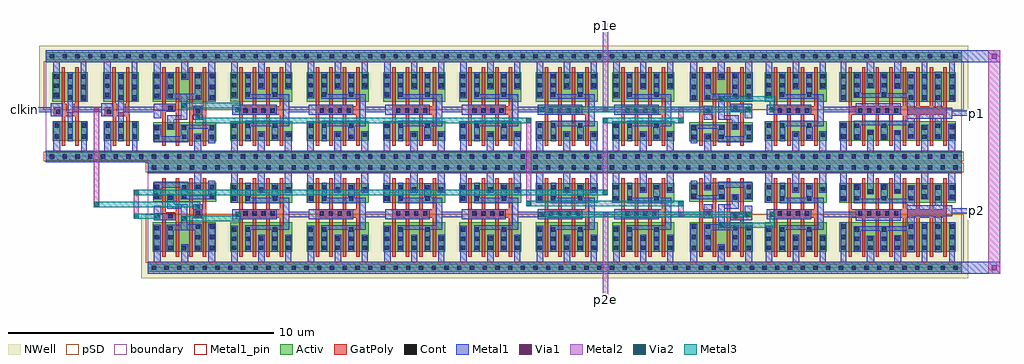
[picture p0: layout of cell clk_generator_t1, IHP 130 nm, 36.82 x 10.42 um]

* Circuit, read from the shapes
.subckt clk_generator_t1 VDD VSS clkin p1 p1e p2 p2e
XM1 sg13g2_inv_2_1/A clkin VSS VSS sg13_lv_nmos w=0.74u l=0.13u m=2
XM2 sg13g2_nand2_2_11/A sg13g2_inv_2_1/A VSS VSS sg13_lv_nmos w=0.74u l=0.13u m=2
XM3 sg13g2_inv_4_14/A sg13g2_nand2_2_12/A n1 VSS sg13_lv_nmos w=0.72u l=0.13u m=2
XM4 sg13g2_inv_4_2/A sg13g2_nand2_2_11/A n2 VSS sg13_lv_nmos w=0.72u l=0.13u m=2
XM5 VSS sg13g2_inv_2_1/A n1 VSS sg13_lv_nmos w=0.72u l=0.13u m=2
XM6 VSS sg13g2_nand2_2_11/B n2 VSS sg13_lv_nmos w=0.72u l=0.13u m=2
XM7 sg13g2_inv_4_15/A sg13g2_inv_4_14/A VSS VSS sg13_lv_nmos w=0.74u l=0.13u m=4
XM8 sg13g2_inv_4_3/A sg13g2_inv_4_2/A VSS VSS sg13_lv_nmos w=0.74u l=0.13u m=4
XM9 sg13g2_inv_4_16/A sg13g2_inv_4_15/A VSS VSS sg13_lv_nmos w=0.74u l=0.13u m=4
XM10 sg13g2_inv_4_4/A sg13g2_inv_4_3/A VSS VSS sg13_lv_nmos w=0.74u l=0.13u m=4
XM11 sg13g2_inv_4_17/A sg13g2_inv_4_16/A VSS VSS sg13_lv_nmos w=0.74u l=0.13u m=4
XM12 sg13g2_inv_4_5/A sg13g2_inv_4_4/A VSS VSS sg13_lv_nmos w=0.74u l=0.13u m=4
XM13 sg13g2_inv_4_18/A sg13g2_inv_4_17/A VSS VSS sg13_lv_nmos w=0.74u l=0.13u m=4
XM14 sg13g2_inv_4_6/A sg13g2_inv_4_5/A VSS VSS sg13_lv_nmos w=0.74u l=0.13u m=4
XM15 p2e sg13g2_inv_4_18/A VSS VSS sg13_lv_nmos w=0.74u l=0.13u m=4
XM16 p1e sg13g2_inv_4_6/A VSS VSS sg13_lv_nmos w=0.74u l=0.13u m=4
XM17 sg13g2_nand2_2_11/B p2e VSS VSS sg13_lv_nmos w=0.74u l=0.13u m=4
XM18 sg13g2_nand2_2_12/A p1e VSS VSS sg13_lv_nmos w=0.74u l=0.13u m=4
XM19 VSS sg13g2_nand2_2_11/B n3 VSS sg13_lv_nmos w=0.72u l=0.13u m=2
XM20 VSS sg13g2_nand2_2_12/A n4 VSS sg13_lv_nmos w=0.72u l=0.13u m=2
XM21 sg13g2_inv_4_20/A sg13g2_inv_4_18/A n3 VSS sg13_lv_nmos w=0.72u l=0.13u m=2
XM22 sg13g2_inv_4_8/A sg13g2_inv_4_6/A n4 VSS sg13_lv_nmos w=0.72u l=0.13u m=2
XM23 sg13g2_inv_8_13/A sg13g2_inv_4_20/A VSS VSS sg13_lv_nmos w=0.74u l=0.13u m=4
XM24 sg13g2_inv_8_10/A sg13g2_inv_4_8/A VSS VSS sg13_lv_nmos w=0.74u l=0.13u m=4
XM25 p2 sg13g2_inv_8_13/A VSS VSS sg13_lv_nmos w=0.74u l=0.13u m=8
XM26 p1 sg13g2_inv_8_10/A VSS VSS sg13_lv_nmos w=0.74u l=0.13u m=8
XM27 sg13g2_inv_2_1/A clkin VDD VDD sg13_lv_pmos w=1.12u l=0.13u m=2
XM28 sg13g2_nand2_2_11/A sg13g2_inv_2_1/A VDD VDD sg13_lv_pmos w=1.12u l=0.13u m=2
XM29 sg13g2_inv_4_14/A sg13g2_nand2_2_12/A VDD VDD sg13_lv_pmos w=1.12u l=0.13u m=2
XM30 sg13g2_inv_4_2/A sg13g2_nand2_2_11/A VDD VDD sg13_lv_pmos w=1.12u l=0.13u m=2
XM31 sg13g2_inv_4_14/A sg13g2_inv_2_1/A VDD VDD sg13_lv_pmos w=1.12u l=0.13u m=2
XM32 sg13g2_inv_4_2/A sg13g2_nand2_2_11/B VDD VDD sg13_lv_pmos w=1.12u l=0.13u m=2
XM33 sg13g2_inv_4_15/A sg13g2_inv_4_14/A VDD VDD sg13_lv_pmos w=1.12u l=0.13u m=4
XM34 sg13g2_inv_4_3/A sg13g2_inv_4_2/A VDD VDD sg13_lv_pmos w=1.12u l=0.13u m=4
XM35 sg13g2_inv_4_16/A sg13g2_inv_4_15/A VDD VDD sg13_lv_pmos w=1.12u l=0.13u m=4
XM36 sg13g2_inv_4_4/A sg13g2_inv_4_3/A VDD VDD sg13_lv_pmos w=1.12u l=0.13u m=4
XM37 sg13g2_inv_4_17/A sg13g2_inv_4_16/A VDD VDD sg13_lv_pmos w=1.12u l=0.13u m=4
XM38 sg13g2_inv_4_5/A sg13g2_inv_4_4/A VDD VDD sg13_lv_pmos w=1.12u l=0.13u m=4
XM39 sg13g2_inv_4_18/A sg13g2_inv_4_17/A VDD VDD sg13_lv_pmos w=1.12u l=0.13u m=4
XM40 sg13g2_inv_4_6/A sg13g2_inv_4_5/A VDD VDD sg13_lv_pmos w=1.12u l=0.13u m=4
XM41 p2e sg13g2_inv_4_18/A VDD VDD sg13_lv_pmos w=1.12u l=0.13u m=4
XM42 p1e sg13g2_inv_4_6/A VDD VDD sg13_lv_pmos w=1.12u l=0.13u m=4
XM43 sg13g2_nand2_2_11/B p2e VDD VDD sg13_lv_pmos w=1.12u l=0.13u m=4
XM44 sg13g2_nand2_2_12/A p1e VDD VDD sg13_lv_pmos w=1.12u l=0.13u m=4
XM45 sg13g2_inv_4_20/A sg13g2_nand2_2_11/B VDD VDD sg13_lv_pmos w=1.12u l=0.13u m=2
XM46 sg13g2_inv_4_8/A sg13g2_nand2_2_12/A VDD VDD sg13_lv_pmos w=1.12u l=0.13u m=2
XM47 sg13g2_inv_4_20/A sg13g2_inv_4_18/A VDD VDD sg13_lv_pmos w=1.12u l=0.13u m=2
XM48 sg13g2_inv_4_8/A sg13g2_inv_4_6/A VDD VDD sg13_lv_pmos w=1.12u l=0.13u m=2
XM49 sg13g2_inv_8_13/A sg13g2_inv_4_20/A VDD VDD sg13_lv_pmos w=1.12u l=0.13u m=4
XM50 sg13g2_inv_8_10/A sg13g2_inv_4_8/A VDD VDD sg13_lv_pmos w=1.12u l=0.13u m=4
XM51 p2 sg13g2_inv_8_13/A VDD VDD sg13_lv_pmos w=1.12u l=0.13u m=8
XM52 p1 sg13g2_inv_8_10/A VDD VDD sg13_lv_pmos w=1.12u l=0.13u m=8
.ends

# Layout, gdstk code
from math import pi, radians
import gdstk
lib = gdstk.Library(unit=1e-6, precision=1e-09)
def R(c, l, rs):  # rectangles x0, y0, x1, y1
    for r in rs: c.add(gdstk.rectangle(r[:2], r[2:], *l))
def A(c, l, x, y, w, h, nx, ny, dx, dy):  # array of equal rectangles
    R(c, l, [(x+i*dx, y+j*dy, x+i*dx+w, y+j*dy+h) for i in range(nx) for j in range(ny)])
def P(c, l, *ps):  # polygons
    for p in ps: c.add(gdstk.Polygon(p, *l))
Activ = (1, 0)
GatPoly = (5, 0)
Cont = (6, 0)
Metal1 = (8, 0)
Metal1_pin = (8, 2)
Metal2 = (10, 0)
pSD = (14, 0)
Via1 = (19, 0)
Via2 = (29, 0)
Metal3 = (30, 0)
NWell = (31, 0)
boundary = (189, 4)

sg13g2_inv_2 = lib.new_cell('sg13g2_inv_2')
R(sg13g2_inv_2, Activ, [(0,-0.15,1.92,0.15), (0.265,0.59,1.59,1.33), (0.255,2.06,1.58,3.18), (0,3.63,1.92,3.93)])
P(sg13g2_inv_2, GatPoly, [(0.605,0.41),(0.605,1.52),(0.305,1.52),(0.305,1.85),(0.595,1.85),(0.595,3.36),(0.725,3.36),(0.725,1.985),(0.785,1.985),(0.785,1.67),(1.055,1.67),(1.055,1.985),(1.11,1.985),(1.11,3.36),(1.24,3.36),(1.24,1.585),(1.245,1.585),(1.245,0.41),(1.115,0.41),(1.115,1.52),(0.735,1.52),(0.735,0.41)])
A(sg13g2_inv_2, Cont, 0.84, 2.145, 0.16, 0.16, 1, 3, 0, 0.395)
A(sg13g2_inv_2, Cont, 1.35, 2.145, 0.16, 0.16, 1, 3, 0, 0.395)
R(sg13g2_inv_2, Cont, [(0.16,-0.08,0.32,0.08), (0.16,-0.08,0.32,0.08), (0.64,-0.08,0.8,0.08), (0.64,-0.08,0.8,0.08), (1.12,-0.08,1.28,0.08), (1.12,-0.08,1.28,0.08), (1.6,-0.08,1.76,0.08), (1.6,-0.08,1.76,0.08), (0.335,0.675,0.495,0.835), (0.845,0.675,1.005,0.835), (1.36,0.675,1.52,0.835), (0.335,1.09,0.495,1.25), (0.845,1.09,1.005,1.25), (1.36,1.09,1.52,1.25), (0.39,1.605,0.55,1.765), (0.325,2.235,0.485,2.395), (0.325,2.59,0.485,2.75), (0.325,2.935,0.485,3.095), (0.16,3.7,0.32,3.86), (0.16,3.7,0.32,3.86), (0.64,3.7,0.8,3.86), (0.64,3.7,0.8,3.86), (1.12,3.7,1.28,3.86), (1.12,3.7,1.28,3.86), (1.6,3.7,1.76,3.86), (1.6,3.7,1.76,3.86)])
R(sg13g2_inv_2, Metal1, [(0.825,0.57,1.02,3.18), (0.18,1.52,0.635,2)])
P(sg13g2_inv_2, Metal1, [(1.32,2.095),(1.32,3.56),(0.535,3.56),(0.535,2.185),(0.275,2.185),(0.275,3.56),(0,3.56),(0,4),(1.92,4),(1.92,3.56),(1.535,3.56),(1.535,2.095)],
  [(0,-0.22),(0,0.22),(0.285,0.22),(0.285,1.3),(0.545,1.3),(0.545,0.22),(1.34,0.22),(1.34,1.305),(1.54,1.305),(1.54,0.22),(1.92,0.22),(1.92,-0.22)])
R(sg13g2_inv_2, Metal1_pin, [(0,-0.22,1.92,0.22), (0.825,0.57,1.02,3.18), (0.18,1.52,0.635,2), (0,3.56,1.92,4)])
R(sg13g2_inv_2, pSD, [(-0.07,-0.18,1.99,0.18), (-0.07,1.76,1.99,3.6)])
R(sg13g2_inv_2, NWell, [(-0.24,1.75,2.16,4.17)])
R(sg13g2_inv_2, boundary, [(0,0,1.92,3.78)])
sg13g2_inv_2.add(gdstk.Label('VSS', (0.89,0), layer=8, texttype=25))
sg13g2_inv_2.add(gdstk.Label('VDD', (0.935,3.785), layer=8, texttype=25))
sg13g2_inv_2.add(gdstk.Label('Y', (0.925,1.855), layer=8, texttype=25))
sg13g2_inv_2.add(gdstk.Label('A', (0.415,1.75), layer=8, texttype=25))

sg13g2_inv_4 = lib.new_cell('sg13g2_inv_4')
R(sg13g2_inv_4, Activ, [(0,-0.15,2.88,0.15), (0.245,0.59,2.585,1.33), (0.245,2.06,2.585,3.18), (0,3.63,2.88,3.93)])
P(sg13g2_inv_4, GatPoly, [(0.585,0.41),(0.585,3.36),(0.715,3.36),(0.715,1.9),(1.095,1.9),(1.095,3.36),(1.225,3.36),(1.225,1.9),(1.605,1.9),(1.605,3.36),(1.735,3.36),(1.735,1.9),(2.115,1.9),(2.115,3.36),(2.245,3.36),(2.245,0.41),(2.115,0.41),(2.115,1.57),(1.735,1.57),(1.735,0.41),(1.605,0.41),(1.605,1.57),(1.225,1.57),(1.225,0.41),(1.095,0.41),(1.095,1.57),(0.715,1.57),(0.715,0.41)])
A(sg13g2_inv_4, Cont, 0.735, 1.655, 0.16, 0.16, 4, 1, 0.34, 0)
A(sg13g2_inv_4, Cont, 0.315, 2.945, 0.16, 0.16, 5, 1, 0.51, 0)
R(sg13g2_inv_4, Cont, [(0.16,-0.08,0.32,0.08), (0.16,-0.08,0.32,0.08), (0.64,-0.08,0.8,0.08), (0.64,-0.08,0.8,0.08), (1.12,-0.08,1.28,0.08), (1.12,-0.08,1.28,0.08), (1.6,-0.08,1.76,0.08), (1.6,-0.08,1.76,0.08), (2.08,-0.08,2.24,0.08), (2.08,-0.08,2.24,0.08), (2.56,-0.08,2.72,0.08), (2.56,-0.08,2.72,0.08), (0.315,0.665,0.475,0.825), (0.825,0.665,0.985,0.825), (1.845,0.665,2.005,0.825), (1.335,0.735,1.495,0.895), (2.355,0.735,2.515,0.895), (0.315,1.09,0.475,1.25), (0.825,1.09,0.985,1.25), (1.845,1.09,2.005,1.25), (0.315,2.255,0.475,2.415), (0.825,2.255,0.985,2.415), (1.845,2.255,2.005,2.415), (1.335,2.595,1.495,2.755), (2.355,2.595,2.515,2.755), (0.315,2.605,0.475,2.765), (0.825,2.605,0.985,2.765), (1.845,2.605,2.005,2.765), (0.16,3.7,0.32,3.86), (0.16,3.7,0.32,3.86), (0.64,3.7,0.8,3.86), (0.64,3.7,0.8,3.86), (1.12,3.7,1.28,3.86), (1.12,3.7,1.28,3.86), (1.6,3.7,1.76,3.86), (1.6,3.7,1.76,3.86), (2.08,3.7,2.24,3.86), (2.08,3.7,2.24,3.86), (2.56,3.7,2.72,3.86), (2.56,3.7,2.72,3.86)])
R(sg13g2_inv_4, Metal1, [(0.325,1.57,2,1.95)])
P(sg13g2_inv_4, Metal1, [(0.815,0.57),(0.815,1.34),(2.245,1.34),(2.245,2.17),(0.8,2.17),(0.8,3.18),(1.015,3.18),(1.015,2.34),(1.815,2.34),(1.815,3.175),(2.03,3.175),(2.03,2.34),(2.475,2.34),(2.475,1.145),(2.06,1.145),(2.06,0.595),(1.805,0.595),(1.805,1.145),(1.01,1.145),(1.01,0.57)],
  [(0.285,2.19),(0.285,3.56),(0,3.56),(0,4),(2.88,4),(2.88,3.56),(2.55,3.56),(2.55,2.54),(2.32,2.54),(2.32,3.56),(1.54,3.56),(1.54,2.53),(1.3,2.53),(1.3,3.56),(0.53,3.56),(0.53,2.19)],
  [(0,-0.21),(0,0.21),(0.27,0.21),(0.27,1.325),(0.52,1.325),(0.52,0.21),(1.28,0.21),(1.28,0.945),(1.55,0.945),(1.55,0.22),(2.305,0.22),(2.305,0.95),(2.565,0.95),(2.565,0.21),(2.88,0.21),(2.88,-0.21)])
R(sg13g2_inv_4, Metal1_pin, [(0,-0.21,2.88,0.21), (2.245,1.145,2.475,2.34), (0.325,1.57,2,1.95), (0,3.56,2.88,4)])
R(sg13g2_inv_4, pSD, [(-0.07,-0.18,2.95,0.18), (-0.07,1.76,2.95,3.6)])
R(sg13g2_inv_4, NWell, [(-0.24,1.75,3.12,4.17)])
R(sg13g2_inv_4, boundary, [(0,0,2.88,3.78)])
sg13g2_inv_4.add(gdstk.Label('A', (1.12,1.76), layer=8, texttype=25))
sg13g2_inv_4.add(gdstk.Label('VDD', (1.925,3.8), layer=8, texttype=25))
sg13g2_inv_4.add(gdstk.Label('Y', (2.36,1.755), layer=8, texttype=25))
sg13g2_inv_4.add(gdstk.Label('VSS', (1.405,0.005), layer=8, texttype=25))

sg13g2_nand2_2 = lib.new_cell('sg13g2_nand2_2')
R(sg13g2_nand2_2, Activ, [(0,-0.15,2.88,0.15), (0.285,0.575,2.67,1.295), (0.3,2.06,2.68,3.18), (0,3.63,2.88,3.93)])
P(sg13g2_nand2_2, GatPoly, [(0.66,0.395),(0.66,3.36),(0.79,3.36),(0.79,1.875),(1.17,1.875),(1.17,3.36),(1.3,3.36),(1.3,0.395),(1.17,0.395),(1.17,1.565),(0.79,1.565),(0.79,0.395)],
  [(1.69,0.395),(1.69,3.36),(1.82,3.36),(1.82,1.99),(2.2,1.99),(2.2,3.36),(2.33,3.36),(2.33,0.395),(2.2,0.395),(2.2,1.685),(1.82,1.685),(1.82,0.395)])
A(sg13g2_nand2_2, Cont, 1.6, -0.08, 0.16, 0.16, 3, 2, 0.48, 3.78)
A(sg13g2_nand2_2, Cont, 0.9, 2.15, 0.16, 0.16, 1, 3, 0, 0.4)
R(sg13g2_nand2_2, Cont, [(0.16,-0.08,0.32,0.08), (0.16,-0.08,0.32,0.08), (0.64,-0.08,0.8,0.08), (0.64,-0.08,0.8,0.08), (1.12,-0.08,1.28,0.08), (1.12,-0.08,1.28,0.08), (1.6,-0.08,1.76,0.08), (0.9,0.645,1.06,0.805), (0.38,0.65,0.54,0.81), (2.44,0.65,2.6,0.81), (1.41,0.66,1.57,0.82), (0.375,0.99,0.535,1.15), (2.44,0.99,2.6,1.15), (1.41,1.005,1.57,1.165), (1.93,1.05,2.09,1.21), (0.9,1.64,1.06,1.8), (1.93,1.76,2.09,1.92), (0.37,2.14,0.53,2.3), (1.93,2.21,2.09,2.37), (2.44,2.21,2.6,2.37), (0.37,2.54,0.53,2.7), (1.93,2.55,2.09,2.71), (2.44,2.55,2.6,2.71), (0.37,2.95,0.53,3.11), (1.41,2.95,1.57,3.11), (1.93,2.95,2.09,3.11), (2.44,2.95,2.6,3.11), (0.16,3.7,0.32,3.86), (0.16,3.7,0.32,3.86), (0.64,3.7,0.8,3.86), (0.64,3.7,0.8,3.86), (1.12,3.7,1.28,3.86), (1.12,3.7,1.28,3.86), (1.6,3.7,1.76,3.86)])
R(sg13g2_nand2_2, Metal1, [(0.82,1.39,1.15,1.92)])
P(sg13g2_nand2_2, Metal1, [(0.32,2.125),(0.32,3.56),(0,3.56),(0,4),(2.88,4),(2.88,3.56),(2.65,3.56),(2.65,2.16),(2.39,2.16),(2.39,3.56),(1.61,3.56),(1.61,2.9),(1.35,2.9),(1.35,3.56),(0.58,3.56),(0.58,2.125)],
  [(2.37,1.44),(2.37,1.73),(1.815,1.73),(1.815,1.98),(2.645,1.98),(2.645,1.44)],
  [(1.88,1),(1.88,1.39),(1.38,1.39),(1.38,2.14),(0.84,2.14),(0.84,3.18),(1.1,3.18),(1.1,2.36),(1.89,2.36),(1.89,3.18),(2.15,3.18),(2.15,2.16),(1.62,2.16),(1.62,1.55),(2.14,1.55),(2.14,1)],
  [(0.325,0.5),(0.325,1.2),(1.62,1.2),(1.62,0.76),(2.37,0.76),(2.37,1.2),(2.65,1.2),(2.65,0.53),(1.35,0.53),(1.35,1.035),(0.585,1.035),(0.585,0.5)],
  [(0,-0.22),(0,0.22),(0.85,0.22),(0.85,0.855),(1.11,0.855),(1.11,0.22),(2.88,0.22),(2.88,-0.22)])
R(sg13g2_nand2_2, Metal1_pin, [(0,-0.22,2.88,0.22), (0.82,1.39,1.15,1.92), (1.38,1.39,1.62,2.36), (1.815,1.73,2.645,1.98), (0,3.56,2.88,4)])
R(sg13g2_nand2_2, pSD, [(-0.07,-0.18,2.95,0.18), (-0.07,1.76,2.95,3.6)])
R(sg13g2_nand2_2, NWell, [(-0.24,1.75,3.12,4.17)])
R(sg13g2_nand2_2, boundary, [(0,0,2.88,3.78)])
sg13g2_nand2_2.add(gdstk.Label('Y', (1.48,2.105), layer=8, texttype=25))
sg13g2_nand2_2.add(gdstk.Label('VDD', (0.97,3.78), layer=8, texttype=25))
sg13g2_nand2_2.add(gdstk.Label('A', (2.01,1.84), layer=8, texttype=25))
sg13g2_nand2_2.add(gdstk.Label('VSS', (0.51,0), layer=8, texttype=25))
sg13g2_nand2_2.add(gdstk.Label('B', (0.98,1.655), layer=8, texttype=25))

sg13g2_inv_8 = lib.new_cell('sg13g2_inv_8')
R(sg13g2_inv_8, Activ, [(0,-0.15,4.8,0.15), (0.185,0.59,4.575,1.33), (0.185,2.06,4.575,3.18), (0,3.63,4.8,3.93)])
P(sg13g2_inv_8, GatPoly, [(0.525,0.41),(0.525,3.36),(0.655,3.36),(0.655,1.9),(1.035,1.9),(1.035,3.36),(1.165,3.36),(1.165,1.9),(1.545,1.9),(1.545,3.36),(1.675,3.36),(1.675,1.9),(2.055,1.9),(2.055,3.36),(2.185,3.36),(2.185,1.9),(2.565,1.9),(2.565,3.36),(2.695,3.36),(2.695,1.9),(3.075,1.9),(3.075,3.36),(3.205,3.36),(3.205,1.9),(3.585,1.9),(3.585,3.36),(3.715,3.36),(3.715,1.9),(4.105,1.9),(4.105,3.36),(4.235,3.36),(4.235,0.41),(4.105,0.41),(4.105,1.57),(3.715,1.57),(3.715,0.41),(3.585,0.41),(3.585,1.57),(3.205,1.57),(3.205,0.41),(3.075,0.41),(3.075,1.57),(2.695,1.57),(2.695,0.41),(2.565,0.41),(2.565,1.57),(2.185,1.57),(2.185,0.41),(2.055,0.41),(2.055,1.57),(1.675,1.57),(1.675,0.41),(1.545,0.41),(1.545,1.57),(1.165,1.57),(1.165,0.41),(1.035,0.41),(1.035,1.57),(0.655,1.57),(0.655,0.41)])
A(sg13g2_inv_8, Cont, 0.765, 1.08, 0.16, 0.16, 4, 1, 1.02, 0)
A(sg13g2_inv_8, Cont, 0.89, 1.655, 0.16, 0.16, 5, 1, 0.34, 0)
A(sg13g2_inv_8, Cont, 2.805, 2.14, 0.16, 0.16, 3, 2, 0.51, 0.4)
A(sg13g2_inv_8, Cont, 0.255, 2.945, 0.16, 0.16, 8, 1, 0.51, 0)
R(sg13g2_inv_8, Cont, [(0.16,-0.08,0.32,0.08), (0.16,-0.08,0.32,0.08), (0.64,-0.08,0.8,0.08), (0.64,-0.08,0.8,0.08), (1.12,-0.08,1.28,0.08), (1.12,-0.08,1.28,0.08), (1.6,-0.08,1.76,0.08), (1.6,-0.08,1.76,0.08), (2.08,-0.08,2.24,0.08), (2.08,-0.08,2.24,0.08), (2.56,-0.08,2.72,0.08), (2.56,-0.08,2.72,0.08), (3.04,-0.08,3.2,0.08), (3.04,-0.08,3.2,0.08), (3.52,-0.08,3.68,0.08), (3.52,-0.08,3.68,0.08), (4,-0.08,4.16,0.08), (4,-0.08,4.16,0.08), (4.48,-0.08,4.64,0.08), (4.48,-0.08,4.64,0.08), (3.315,0.665,3.475,0.825), (0.255,0.67,0.415,0.83), (0.765,0.67,0.925,0.83), (1.785,0.67,1.945,0.83), (3.825,0.67,3.985,0.83), (4.345,0.67,4.505,0.83), (2.805,0.675,2.965,0.835), (1.275,0.815,1.435,0.975), (2.295,0.815,2.455,0.975), (3.315,1.015,3.475,1.175), (4.345,1.025,4.505,1.185), (0.255,1.08,0.415,1.24), (0.255,2.14,0.415,2.3), (4.345,2.14,4.505,2.3), (0.765,2.255,0.925,2.415), (1.785,2.255,1.945,2.415), (0.255,2.54,0.415,2.7), (4.345,2.54,4.505,2.7), (1.275,2.595,1.435,2.755), (2.295,2.595,2.455,2.755), (0.765,2.605,0.925,2.765), (1.785,2.605,1.945,2.765), (4.345,2.945,4.505,3.105), (0.16,3.7,0.32,3.86), (0.16,3.7,0.32,3.86), (0.64,3.7,0.8,3.86), (0.64,3.7,0.8,3.86), (1.12,3.7,1.28,3.86), (1.12,3.7,1.28,3.86), (1.6,3.7,1.76,3.86), (1.6,3.7,1.76,3.86), (2.08,3.7,2.24,3.86), (2.08,3.7,2.24,3.86), (2.56,3.7,2.72,3.86), (2.56,3.7,2.72,3.86), (3.04,3.7,3.2,3.86), (3.04,3.7,3.2,3.86), (3.52,3.7,3.68,3.86), (3.52,3.7,3.68,3.86), (4,3.7,4.16,3.86), (4,3.7,4.16,3.86), (4.48,3.7,4.64,3.86), (4.48,3.7,4.64,3.86)])
R(sg13g2_inv_8, Metal1, [(0.805,1.57,2.495,2)])
P(sg13g2_inv_8, Metal1, [(0.715,0.62),(0.715,1.345),(2.74,1.345),(2.74,2.22),(0.715,2.22),(0.715,3.16),(0.98,3.16),(0.98,2.385),(1.73,2.385),(1.73,3.155),(1.995,3.155),(1.995,2.38),(2.74,2.38),(2.74,3.2),(3.015,3.2),(3.015,1.84),(3.775,1.84),(3.775,3.19),(4.035,3.19),(4.035,1.84),(4.44,1.84),(4.44,1.42),(4.035,1.42),(4.035,0.64),(3.775,0.64),(3.775,1.42),(3.015,1.42),(3.015,0.665),(2.755,0.665),(2.755,1.18),(2,1.18),(2,0.635),(1.735,0.635),(1.735,1.18),(0.98,1.18),(0.98,0.62)],
  [(0,-0.22),(0,0.22),(0.205,0.22),(0.205,1.27),(0.465,1.27),(0.465,0.22),(1.225,0.22),(1.225,1),(1.485,1),(1.485,0.22),(2.245,0.22),(2.245,0.99),(2.505,0.99),(2.505,0.22),(3.265,0.22),(3.265,1.195),(3.525,1.195),(3.525,0.22),(4.295,0.22),(4.295,1.225),(4.555,1.225),(4.555,0.22),(4.8,0.22),(4.8,-0.22)],
  [(3.29,2.055),(3.29,3.56),(2.515,3.56),(2.515,2.56),(2.245,2.56),(2.245,3.56),(1.495,3.56),(1.495,2.565),(1.215,2.565),(1.215,3.56),(0.435,3.56),(0.435,2.06),(0.24,2.06),(0.24,3.56),(0,3.56),(0,4),(4.8,4),(4.8,3.56),(4.53,3.56),(4.53,2.065),(4.32,2.065),(4.32,3.56),(3.5,3.56),(3.5,2.055)])
R(sg13g2_inv_8, Metal1_pin, [(0,-0.22,4.8,0.22), (2.74,1.42,4.44,1.84), (0.805,1.57,2.495,2), (0,3.56,4.8,4)])
R(sg13g2_inv_8, pSD, [(-0.07,-0.18,4.87,0.18), (-0.07,1.76,4.87,3.6)])
R(sg13g2_inv_8, NWell, [(-0.24,1.75,5.04,4.17)])
R(sg13g2_inv_8, boundary, [(0,0,4.8,3.78)])
sg13g2_inv_8.add(gdstk.Label('Y', (3.65,1.64), layer=8, texttype=25))
sg13g2_inv_8.add(gdstk.Label('A', (1.645,1.785), layer=8, texttype=25))
sg13g2_inv_8.add(gdstk.Label('VSS', (2.31,-0.02), layer=8, texttype=25))
sg13g2_inv_8.add(gdstk.Label('VDD', (2.71,3.78), layer=8, texttype=25))

clk_generator_t1 = lib.new_cell('clk_generator_t1')
R(clk_generator_t1, Activ, [(3.84,-0.27,34.56,-0.15)])
R(clk_generator_t1, Metal2, [(25.38,-2.695,25.62,-2.495), (5.1,-2.445,5.34,-2.245), (4.115,-2.36,4.315,-2.16), (18.6,-2.285,18.8,-2.085), (26.38,-2.285,26.645,-2.085), (7.15,-2.28,7.35,-2.08), (27.31,-2.28,27.51,-2.08), (5.635,-2.035,5.835,-1.835), (5.635,1.415,5.835,1.615), (7.15,1.66,7.35,1.86), (27.31,1.66,27.51,1.86), (18.6,1.665,18.8,1.865), (26.38,1.665,26.645,1.865), (5.1,1.825,5.34,2.025), (25.38,2.075,25.62,2.275)])
R(clk_generator_t1, Via1, [(35.685,-4.295,35.875,-4.105), (25.405,-2.69,25.595,-2.5), (5.125,-2.44,5.315,-2.25), (4.12,-2.355,4.31,-2.165), (18.605,-2.28,18.795,-2.09), (21.025,-2.28,21.215,-2.09), (23.875,-2.28,24.065,-2.09), (26.415,-2.28,26.605,-2.09), (7.155,-2.275,7.345,-2.085), (27.315,-2.275,27.505,-2.085), (5.64,-2.03,5.83,-1.84), (5.64,1.42,5.83,1.61), (7.155,1.665,7.345,1.855), (27.315,1.665,27.505,1.855), (1.825,1.67,2.015,1.86), (18.605,1.67,18.795,1.86), (21.025,1.67,21.215,1.86), (23.875,1.67,24.065,1.86), (26.415,1.67,26.605,1.86), (5.125,1.83,5.315,2.02), (25.405,2.08,25.595,2.27), (35.685,3.685,35.875,3.875)])
R(clk_generator_t1, Via2, [(25.405,-2.69,25.595,-2.5), (5.125,-2.44,5.315,-2.25), (3.32,-2.355,3.51,-2.165), (4.12,-2.355,4.31,-2.165), (18.605,-2.28,18.795,-2.09), (26.415,-2.28,26.605,-2.09), (7.155,-2.275,7.345,-2.085), (27.315,-2.275,27.505,-2.085), (5.64,-2.03,5.83,-1.84), (1.825,-1.91,2.015,-1.72), (18.13,-1.87,18.32,-1.68), (23.875,-1.87,24.065,-1.68), (3.32,-1.46,3.51,-1.27), (21.01,-1.46,21.2,-1.27), (18.13,1.255,18.32,1.445), (21.01,1.26,21.2,1.45), (23.875,1.26,24.065,1.45), (5.64,1.42,5.83,1.61), (7.155,1.665,7.345,1.855), (27.315,1.665,27.505,1.855), (18.605,1.67,18.795,1.86), (26.415,1.67,26.605,1.86), (5.125,1.83,5.315,2.02), (25.405,2.08,25.595,2.27)])
clk_generator_t1.add(gdstk.FlexPath([(36,3.78),(34.56,3.78)], 0.44, ends="flush", simple_path=True, layer=8, datatype=0))  # Metal1
clk_generator_t1.add(gdstk.FlexPath([(36,-4.2),(34.56,-4.2)], 0.44, ends="flush", simple_path=True, layer=8, datatype=0))  # Metal1
clk_generator_t1.add(gdstk.FlexPath([(1.02,1.765),(2.1,1.765)], 0.2, ends="flush", simple_path=True, layer=8, datatype=0))  # Metal1
clk_generator_t1.add(gdstk.FlexPath([(35.2,-2.05),(34.2,-2.05)], 0.2, ends="flush", simple_path=True, layer=8, datatype=0))  # Metal1
clk_generator_t1.add(gdstk.FlexPath([(35.2,1.63),(34.2,1.63)], 0.2, ends="flush", simple_path=True, layer=8, datatype=0))  # Metal1
clk_generator_t1.add(gdstk.FlexPath([(0.18,1.76),(-0.82,1.76)], 0.2, ends="flush", simple_path=True, layer=8, datatype=0))  # Metal1
clk_generator_t1.add(gdstk.FlexPath([(2.94,1.765),(4.075,1.765)], 0.2, ends="flush", simple_path=True, layer=8, datatype=0))  # Metal1
clk_generator_t1.add(gdstk.FlexPath([(29.355,-2.185),(30.565,-2.185)], 0.2, ends="flush", simple_path=True, layer=8, datatype=0))  # Metal1
clk_generator_t1.add(gdstk.FlexPath([(29.355,1.765),(30.565,1.765)], 0.2, ends="flush", simple_path=True, layer=8, datatype=0))  # Metal1
clk_generator_t1.add(gdstk.FlexPath([(23.595,-2.185),(24.82,-2.185)], 0.2, ends="flush", simple_path=True, layer=8, datatype=0))  # Metal1
clk_generator_t1.add(gdstk.FlexPath([(23.595,1.765),(24.82,1.765)], 0.2, ends="flush", simple_path=True, layer=8, datatype=0))  # Metal1
clk_generator_t1.add(gdstk.FlexPath([(9.195,-2.185),(9.925,-2.185)], 0.2, ends="flush", simple_path=True, layer=8, datatype=0))  # Metal1
clk_generator_t1.add(gdstk.FlexPath([(12.075,-2.185),(12.805,-2.185)], 0.2, ends="flush", simple_path=True, layer=8, datatype=0))  # Metal1
clk_generator_t1.add(gdstk.FlexPath([(14.955,-2.185),(15.685,-2.185)], 0.2, ends="flush", simple_path=True, layer=8, datatype=0))  # Metal1
clk_generator_t1.add(gdstk.FlexPath([(17.835,-2.185),(18.565,-2.185)], 0.2, ends="flush", simple_path=True, layer=8, datatype=0))  # Metal1
clk_generator_t1.add(gdstk.FlexPath([(20.715,-2.185),(21.445,-2.185)], 0.2, ends="flush", simple_path=True, layer=8, datatype=0))  # Metal1
clk_generator_t1.add(gdstk.FlexPath([(9.195,1.765),(9.925,1.765)], 0.2, ends="flush", simple_path=True, layer=8, datatype=0))  # Metal1
clk_generator_t1.add(gdstk.FlexPath([(12.075,1.765),(12.805,1.765)], 0.2, ends="flush", simple_path=True, layer=8, datatype=0))  # Metal1
clk_generator_t1.add(gdstk.FlexPath([(14.955,1.765),(15.685,1.765)], 0.2, ends="flush", simple_path=True, layer=8, datatype=0))  # Metal1
clk_generator_t1.add(gdstk.FlexPath([(17.835,1.765),(18.565,1.765)], 0.2, ends="flush", simple_path=True, layer=8, datatype=0))  # Metal1
clk_generator_t1.add(gdstk.FlexPath([(20.715,1.765),(21.445,1.765)], 0.2, ends="flush", simple_path=True, layer=8, datatype=0))  # Metal1
clk_generator_t1.add(gdstk.FlexPath([(18.6,-2.185),(26.61,-2.185)], 0.2, ends="flush", simple_path=True, layer=30, datatype=0))  # Metal3
clk_generator_t1.add(gdstk.FlexPath([(18.6,1.765),(26.61,1.765)], 0.2, ends="flush", simple_path=True, layer=30, datatype=0))  # Metal3
clk_generator_t1.add(gdstk.FlexPath([(4.315,-2.26),(3.315,-2.26)], 0.2, ends="flush", simple_path=True, layer=30, datatype=0))  # Metal3
clk_generator_t1.add(gdstk.FlexPath([(5.1,-2.345),(7.25,-2.345),(7.25,-2.08)], 0.2, ends="flush", simple_path=True, layer=30, datatype=0))  # Metal3
clk_generator_t1.add(gdstk.FlexPath([(5.735,1.615),(5.735,1.35),(18.325,1.35)], 0.2, ends="flush", simple_path=True, layer=30, datatype=0))  # Metal3
clk_generator_t1.add(gdstk.FlexPath([(21.005,1.355),(24.07,1.355)], 0.2, ends="flush", simple_path=True, layer=30, datatype=0))  # Metal3
clk_generator_t1.add(gdstk.FlexPath([(18.125,-1.775),(24.07,-1.775)], 0.2, ends="flush", simple_path=True, layer=30, datatype=0))  # Metal3
clk_generator_t1.add(gdstk.FlexPath([(5.735,-2.035),(5.735,-1.815),(1.82,-1.815)], 0.2, ends="flush", simple_path=True, layer=30, datatype=0))  # Metal3
clk_generator_t1.add(gdstk.FlexPath([(5.1,1.925),(7.25,1.925),(7.25,1.66)], 0.2, ends="flush", simple_path=True, layer=30, datatype=0))  # Metal3
clk_generator_t1.add(gdstk.FlexPath([(25.38,2.175),(27.41,2.175),(27.41,1.66)], 0.2, ends="flush", simple_path=True, layer=30, datatype=0))  # Metal3
clk_generator_t1.add(gdstk.FlexPath([(3.315,-1.365),(21.205,-1.365)], 0.2, ends="flush", simple_path=True, layer=30, datatype=0))  # Metal3
clk_generator_t1.add(gdstk.FlexPath([(25.38,-2.595),(27.41,-2.595),(27.41,-2.08)], 0.2, ends="flush", simple_path=True, layer=30, datatype=0))  # Metal3
clk_generator_t1.add(gdstk.FlexPath([(35.78,-4.42),(35.78,4)], 0.44, ends="flush", simple_path=True, layer=10, datatype=0))  # Metal2
clk_generator_t1.add(gdstk.FlexPath([(18.225,1.45),(18.225,-1.875)], 0.2, ends="flush", simple_path=True, layer=10, datatype=0))  # Metal2
clk_generator_t1.add(gdstk.FlexPath([(3.415,-2.36),(3.415,-1.265)], 0.2, ends="flush", simple_path=True, layer=10, datatype=0))  # Metal2
clk_generator_t1.add(gdstk.FlexPath([(21.105,1.455),(21.105,-1.465)], 0.2, ends="flush", simple_path=True, layer=10, datatype=0))  # Metal2
clk_generator_t1.add(gdstk.FlexPath([(1.92,-1.915),(1.92,1.865)], 0.2, ends="flush", simple_path=True, layer=10, datatype=0))  # Metal2
clk_generator_t1.add(gdstk.FlexPath([(23.97,-1.675),(23.97,-2.285)], 0.2, ends="flush", simple_path=True, layer=10, datatype=0))  # Metal2
clk_generator_t1.add(gdstk.FlexPath([(23.97,1.865),(23.97,1.255)], 0.2, ends="flush", simple_path=True, layer=10, datatype=0))  # Metal2
clk_generator_t1.add(gdstk.FlexPath([(21.12,1.665),(21.12,5)], 0.2, ends="flush", simple_path=True, layer=10, datatype=0))  # Metal2
clk_generator_t1.add(gdstk.FlexPath([(21.12,-2.085),(21.12,-5.42)], 0.2, ends="flush", simple_path=True, layer=10, datatype=0))  # Metal2
clk_generator_t1.add(gdstk.Reference(sg13g2_inv_2, (0,0)))
clk_generator_t1.add(gdstk.Reference(sg13g2_inv_2, (1.92,0)))
clk_generator_t1.add(gdstk.Reference(sg13g2_inv_4, (6.72,0)))
clk_generator_t1.add(gdstk.Reference(sg13g2_inv_4, (9.6,0)))
clk_generator_t1.add(gdstk.Reference(sg13g2_inv_4, (12.48,0)))
clk_generator_t1.add(gdstk.Reference(sg13g2_inv_4, (15.36,0)))
clk_generator_t1.add(gdstk.Reference(sg13g2_inv_4, (18.24,0)))
clk_generator_t1.add(gdstk.Reference(sg13g2_inv_4, (21.12,0)))
clk_generator_t1.add(gdstk.Reference(sg13g2_inv_4, (26.88,0)))
clk_generator_t1.add(gdstk.Reference(sg13g2_nand2_2, (24,0)))
clk_generator_t1.add(gdstk.Reference(sg13g2_inv_8, (29.76,0)))
clk_generator_t1.add(gdstk.Reference(sg13g2_nand2_2, (6.72,0), rotation=pi, x_reflection=True))
clk_generator_t1.add(gdstk.Reference(sg13g2_nand2_2, (6.72,-0.42), rotation=pi))
clk_generator_t1.add(gdstk.Reference(sg13g2_inv_8, (29.76,-0.42), x_reflection=True))
clk_generator_t1.add(gdstk.Reference(sg13g2_inv_4, (6.72,-0.42), x_reflection=True))
clk_generator_t1.add(gdstk.Reference(sg13g2_inv_4, (9.6,-0.42), x_reflection=True))
clk_generator_t1.add(gdstk.Reference(sg13g2_inv_4, (12.48,-0.42), x_reflection=True))
clk_generator_t1.add(gdstk.Reference(sg13g2_inv_4, (15.36,-0.42), x_reflection=True))
clk_generator_t1.add(gdstk.Reference(sg13g2_inv_4, (18.24,-0.42), x_reflection=True))
clk_generator_t1.add(gdstk.Reference(sg13g2_inv_4, (21.12,-0.42), x_reflection=True))
clk_generator_t1.add(gdstk.Reference(sg13g2_inv_4, (26.88,-0.42), x_reflection=True))
clk_generator_t1.add(gdstk.Reference(sg13g2_nand2_2, (24,-0.42), x_reflection=True))
clk_generator_t1.add(gdstk.Label('p2', (35.11,-2.05), layer=8, texttype=25))
clk_generator_t1.add(gdstk.Label('p1', (35.11,1.63), layer=8, texttype=25))
clk_generator_t1.add(gdstk.Label('clkin', (-0.785,1.76), layer=8, texttype=25))
clk_generator_t1.add(gdstk.Label('p1e', (21.12,4.94), layer=10, texttype=25))
clk_generator_t1.add(gdstk.Label('p2e', (21.12,-5.39), layer=10, texttype=25))

lib.write_gds('clk_generator_t1.gds')
